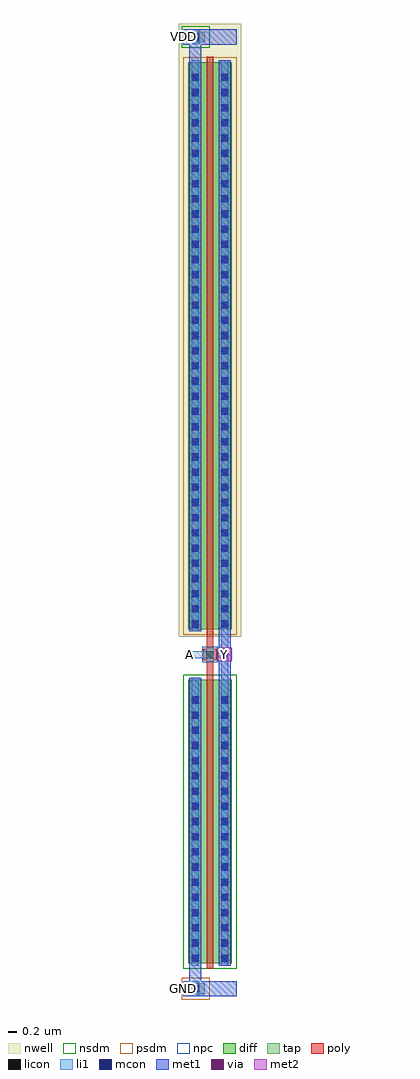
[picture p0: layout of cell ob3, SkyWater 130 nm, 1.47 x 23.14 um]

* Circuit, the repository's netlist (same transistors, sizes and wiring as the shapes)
* NGSPICE file created from ob3.ext - technology: sky130A

.subckt ob3 A Y VDD GND
X0 Y A GND GND sky130_fd_pr__nfet_01v8 ad=2.9568 pd=14.32 as=2.9568 ps=14.32 w=6.72 l=0.15
X1 Y A VDD VDD sky130_fd_pr__pfet_01v8 ad=5.9136 pd=27.76 as=5.9136 ps=27.76 w=13.44 l=0.15
.ends

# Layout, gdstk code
import gdstk
lib = gdstk.Library(unit=1e-6, precision=1e-09)
def R(c, l, rs):  # rectangles x0, y0, x1, y1
    for r in rs: c.add(gdstk.rectangle(r[:2], r[2:], *l))
def A(c, l, x, y, w, h, nx, ny, dx, dy):  # array of equal rectangles
    R(c, l, [(x+i*dx, y+j*dy, x+i*dx+w, y+j*dy+h) for i in range(nx) for j in range(ny)])
nwell = (64, 20)
diff = (65, 20)
tap = (65, 44)
poly = (66, 20)
licon = (66, 44)
li1 = (67, 20)
mcon = (67, 44)
met1 = (68, 20)
via = (68, 44)
met2 = (69, 20)
nsdm = (93, 44)
psdm = (94, 20)
npc = (95, 20)

ob3 = lib.new_cell('ob3')
R(ob3, nwell, [(0,8.34,1.47,22.88)])
R(ob3, diff, [(0.22,0.6,1.25,7.32), (0.22,8.52,1.25,21.96)])
R(ob3, tap, [(0.195,-0.13,0.605,0.13), (0.195,22.43,0.605,22.69)])
R(ob3, poly, [(0.66,0.47,0.81,7.785), (0.57,7.785,0.9,8.055), (0.66,8.055,0.81,22.09)])
A(ob3, licon, 0.3, 0.64, 0.17, 0.17, 1, 18, 0, 0.36)
A(ob3, licon, 1, 0.64, 0.17, 0.17, 1, 18, 0, 0.36)
A(ob3, licon, 0.3, 8.56, 0.17, 0.17, 1, 37, 0, 0.36)
A(ob3, licon, 1, 8.56, 0.17, 0.17, 1, 37, 0, 0.36)
R(ob3, licon, [(0.315,-0.085,0.485,0.085), (0.65,7.835,0.82,8.005), (0.315,22.475,0.485,22.645)])
R(ob3, li1, [(0.315,-0.175,0.485,0.175), (0.3,0.55,0.47,7.37), (1,0.55,1.17,22.01), (0.65,7.755,0.82,7.835), (0.165,7.835,0.82,8.005), (0.65,8.005,0.82,8.085), (0.3,8.47,0.47,22.01), (0.315,22.385,0.485,22.735)])
A(ob3, mcon, 0.3, 0.64, 0.17, 0.17, 1, 18, 0, 0.36)
A(ob3, mcon, 1, 0.64, 0.17, 0.17, 1, 18, 0, 0.36)
A(ob3, mcon, 0.3, 8.56, 0.17, 0.17, 1, 37, 0, 0.36)
A(ob3, mcon, 1, 8.56, 0.17, 0.17, 1, 37, 0, 0.36)
R(ob3, mcon, [(0.315,-0.085,0.485,0.085), (0.315,22.475,0.485,22.645)])
R(ob3, met1, [(0.1,-0.18,1.37,0.18), (0.245,0.18,0.525,7.37), (0.945,0.55,1.225,7.76), (0.925,7.76,1.245,8.08), (0.945,8.08,1.225,22.01), (0.245,8.47,0.525,22.38), (0.1,22.38,1.37,22.74)])
R(ob3, via, [(1.01,7.845,1.16,7.995)])
R(ob3, met2, [(0.935,7.76,1.235,8.08)])
R(ob3, nsdm, [(0.095,0.475,1.375,7.445), (0.07,22.305,0.73,22.815)])
R(ob3, psdm, [(0.07,-0.255,0.73,0.255), (0.095,8.395,1.375,22.085)])
R(ob3, npc, [(0.55,7.735,0.92,8.105)])
ob3.add(gdstk.Label('A', (0.25,7.92), layer=67, texttype=5))
ob3.add(gdstk.Label('Y', (1.085,7.92), layer=69, texttype=5))
ob3.add(gdstk.Label('VDD', (0.1,22.56), layer=68, texttype=5))
ob3.add(gdstk.Label('GND', (0.1,0), layer=68, texttype=5))

lib.write_gds('ob3.gds')
